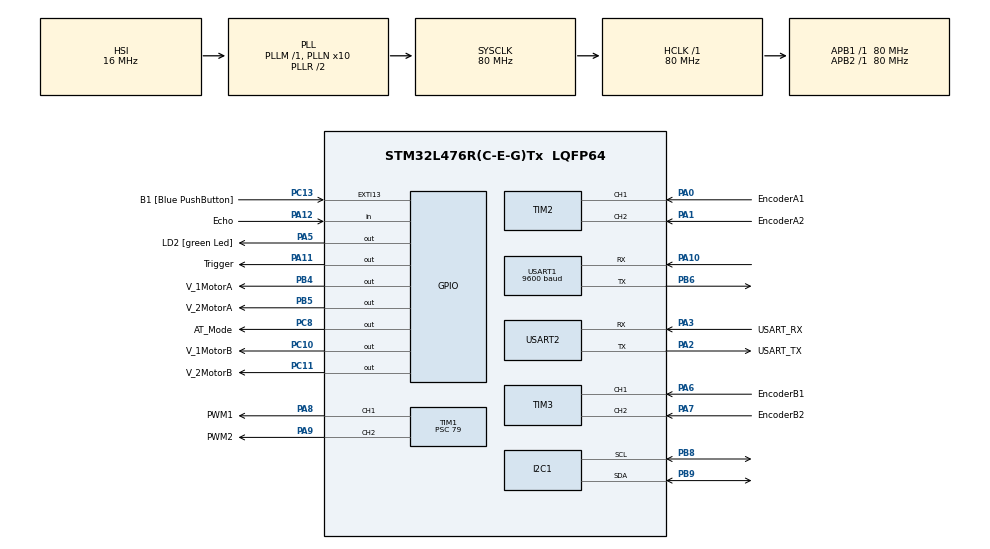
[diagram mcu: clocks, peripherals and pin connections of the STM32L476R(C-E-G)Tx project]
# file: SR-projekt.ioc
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I2C1.Timing=0x10909CEC
Mcu.Family=STM32L4
Mcu.Name=STM32L476R(C-E-G)Tx
Mcu.Package=LQFP64
Mcu.UserConstants=PWM1_period,399;PWM2_period,399
NVIC.PriorityGroup=NVIC_PRIORITYGROUP_4
NVIC.USART1_IRQn=true\:0\:0\:false\:false\:true\:true\:true\:true
PA0.GPIO_Label=EncoderA1
PA0.Signal=S_TIM2_CH1
PA1.GPIO_Label=EncoderA2
PA1.Signal=S_TIM2_CH2
PA10.Mode=Asynchronous
PA10.Signal=USART1_RX
PA11.GPIO_Label=Trigger
PA11.Signal=GPIO_Output
PA12.GPIO_Label=Echo
PA12.Signal=GPIO_Input
PA13\ (JTMS-SWDIO).GPIO_Label=TMS
PA13\ (JTMS-SWDIO).Mode=Serial_Wire
PA13\ (JTMS-SWDIO).Signal=SYS_JTMS-SWDIO
PA14\ (JTCK-SWCLK).GPIO_Label=TCK
PA14\ (JTCK-SWCLK).Mode=Serial_Wire
PA14\ (JTCK-SWCLK).Signal=SYS_JTCK-SWCLK
PA2.GPIO_Label=USART_TX
PA2.GPIO_Mode=GPIO_MODE_AF_PP
PA2.GPIO_PuPd=GPIO_NOPULL
PA2.GPIO_Speed=GPIO_SPEED_FREQ_VERY_HIGH
PA2.Mode=Asynchronous
PA2.Signal=USART2_TX
PA3.GPIO_Label=USART_RX
PA3.GPIO_Mode=GPIO_MODE_AF_PP
PA3.GPIO_PuPd=GPIO_NOPULL
PA3.GPIO_Speed=GPIO_SPEED_FREQ_VERY_HIGH
PA3.Mode=Asynchronous
PA3.Signal=USART2_RX
PA5.GPIO_Label=LD2 [green Led]
PA5.GPIO_ModeDefaultOutputPP=GPIO_MODE_OUTPUT_PP
PA5.GPIO_PuPd=GPIO_NOPULL
PA5.GPIO_Speed=GPIO_SPEED_FREQ_LOW
PA5.Signal=GPIO_Output
PA6.GPIO_Label=EncoderB1
PA6.Signal=S_TIM3_CH1
PA7.GPIO_Label=EncoderB2
PA7.Signal=S_TIM3_CH2
PA8.GPIO_Label=PWM1
PA8.Signal=S_TIM1_CH1
PA9.GPIO_Label=PWM2
PA9.Signal=S_TIM1_CH2
PB3\ (JTDO-TRACESWO).GPIO_Label=SWO
PB3\ (JTDO-TRACESWO).Signal=SYS_JTDO-SWO
PB4\ (NJTRST).GPIO_Label=V_1MotorA
PB4\ (NJTRST).Signal=GPIO_Output
PB5.GPIO_Label=V_2MotorA
PB5.Signal=GPIO_Output
PB6.Mode=Asynchronous
PB6.Signal=USART1_TX
PB8.Mode=I2C
PB8.Signal=I2C1_SCL
PB9.Mode=I2C
PB9.Signal=I2C1_SDA
PC10.GPIO_Label=V_1MotorB
PC10.Signal=GPIO_Output
PC11.GPIO_Label=V_2MotorB
PC11.Signal=GPIO_Output
PC13.GPIO_Label=B1 [Blue PushButton]
PC13.GPIO_ModeDefaultEXTI=GPIO_MODE_IT_FALLING
PC13.GPIO_PuPd=GPIO_NOPULL
PC13.Signal=GPXTI13
PC14-OSC32_IN\ (PC14).Mode=LSE-External-Oscillator
PC14-OSC32_IN\ (PC14).Signal=RCC_OSC32_IN
PC15-OSC32_OUT\ (PC15).Mode=LSE-External-Oscillator
PC15-OSC32_OUT\ (PC15).Signal=RCC_OSC32_OUT
PC8.GPIO_Label=AT_Mode
PC8.Signal=GPIO_Output
PH0-OSC_IN\ (PH0).Signal=RCC_OSC_IN
PH1-OSC_OUT\ (PH1).Signal=RCC_OSC_OUT
ProjectManager.HeapSize=0x200
ProjectManager.StackSize=0x400
ProjectManager.TargetToolchain=STM32CubeIDE
RCC.ADCFreq_Value=64000000
RCC.AHBFreq_Value=80000000
RCC.APB1Freq_Value=80000000
RCC.APB1TimFreq_Value=80000000
RCC.APB2Freq_Value=80000000
RCC.APB2TimFreq_Value=80000000
RCC.CortexFreq_Value=80000000
RCC.HCLKFreq_Value=80000000
RCC.HSE_VALUE=8000000
RCC.HSI_VALUE=16000000
RCC.MSI_VALUE=4000000
RCC.PLLN=10
RCC.PLLSourceVirtual=RCC_PLLSOURCE_HSI
RCC.PREFETCH_ENABLE=1
RCC.SYSCLKFreq_VALUE=80000000
RCC.SYSCLKSource=RCC_SYSCLKSOURCE_PLLCLK
RCC.USBFreq_Value=64000000
RCC.VCOOutputFreq_Value=160000000
SH.S_TIM1_CH1.0=TIM1_CH1,PWM Generation1 CH1
SH.S_TIM1_CH2.0=TIM1_CH2,PWM Generation2 CH2
SH.S_TIM2_CH1.0=TIM2_CH1,Encoder_Interface
SH.S_TIM2_CH2.0=TIM2_CH2,Encoder_Interface
SH.S_TIM3_CH1.0=TIM3_CH1,Encoder_Interface
SH.S_TIM3_CH2.0=TIM3_CH2,Encoder_Interface
TIM1.Channel-PWM\ Generation1\ CH1=TIM_CHANNEL_1
TIM1.Channel-PWM\ Generation2\ CH2=TIM_CHANNEL_2
TIM1.Period=399
TIM1.Prescaler=79
TIM2.EncoderMode=TIM_ENCODERMODE_TI12
TIM2.IC1Filter=5
TIM2.IC2Filter=5
TIM3.EncoderMode=TIM_ENCODERMODE_TI12
TIM3.IC1Filter=5
TIM3.IC2Filter=5
TIM4.Period=0
TIM4.Prescaler=79
USART1.BaudRate=9600
USART1.VirtualMode-Asynchronous=VM_ASYNC
USART2.VirtualMode-Asynchronous=VM_ASYNC
VP_TIM4_VS_ClockSourceINT.Mode=Internal
board=NUCLEO-L476RG

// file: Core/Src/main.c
/* USER CODE BEGIN Header */
/**
  ******************************************************************************
  * @file           : main.c
  * @brief          : Main program body
  ******************************************************************************
  * @attention
  *
  * Copyright (c) 2024 STMicroelectronics.
  * All rights reserved.
  *
  * This software is licensed under terms that can be found in the LICENSE file
  * in the root directory of this software component.
  * If no LICENSE file comes with this software, it is provided AS-IS.
  *
  ******************************************************************************
  */
/* USER CODE END Header */
#include "main.h"

/* USER CODE BEGIN Includes */
#include <stdio.h>
/* USER CODE END Includes */

I2C_HandleTypeDef hi2c1;

TIM_HandleTypeDef htim1;
TIM_HandleTypeDef htim2;
TIM_HandleTypeDef htim3;
TIM_HandleTypeDef htim4;

UART_HandleTypeDef huart1;
UART_HandleTypeDef huart2;

/* USER CODE BEGIN PV */

#define adxl_address 0x53<<1

uint8_t rxData;

/* USER CODE END PV */

void SystemClock_Config(void);
static void MX_GPIO_Init(void);
static void MX_USART2_UART_Init(void);
static void MX_TIM1_Init(void);
static void MX_TIM2_Init(void);
static void MX_TIM3_Init(void);
static void MX_I2C1_Init(void);
static void MX_TIM4_Init(void);
static void MX_USART1_UART_Init(void);
/* USER CODE BEGIN PFP */

uint8_t data_rec[6];

void adxl_write(uint8_t reg,uint8_t value)
{
	uint8_t data[2];
	data[0] = reg;
	data[1] = value;
	HAL_I2C_Master_Transmit(&hi2c1, adxl_address, data, 2, 10);
}

void adxl_read(uint8_t reg,uint8_t numberofbytes)
{
	HAL_I2C_Mem_Read(&hi2c1,adxl_address, reg, 1, data_rec, numberofbytes, 100);
}

void adxl_init (void)
{
	adxl_read (0x00, 1);

	adxl_write (0x2d, 0);
	adxl_write (0x2d, 0x08);
	adxl_write(0x31, 0x01);

}

	void usDelay(uint32_t uSec);

/* USER CODE END PFP */

/* USER CODE BEGIN 0 */
const float speedOfSound = 0.0343/2;
float distance;
/* USER CODE END 0 */

int main(void)
{

  /* MCU Configuration--------------------------------------------------------*/

  /* Reset of all peripherals, Initializes the Flash interface and the Systick. */
  HAL_Init();

  /* Configure the system clock */
  SystemClock_Config();

  /* Initialize all configured peripherals */
  MX_GPIO_Init();
  MX_USART2_UART_Init();
  MX_TIM1_Init();
  MX_TIM2_Init();
  MX_TIM3_Init();
  MX_I2C1_Init();
  MX_TIM4_Init();
  MX_USART1_UART_Init();
  /* USER CODE BEGIN 2 */
  int counterValue = 0;
  int pastCounterValue = 0;
  float angleValue = 0;
  char printMessage[200] = {'\0'};

  int counterValue3 = 0;
    int pastCounterValue3 = 0;
    float angleValue3 = 0;
    char printMessage3[200] = {'\0'};
    char printMessage_akc[200] = {'\0'};
    char printMessage_US[200] = {'\0'};
    float x,y,z,xg,yg,zg;
    float distVarStop = 10;
    uint32_t numTicks;
    //TIM1->CCR1 = 400;
    //TIM1->CCR2 = 400;

  HAL_TIM_Encoder_Start(&htim2, TIM_CHANNEL_ALL);
  HAL_TIM_Encoder_Start(&htim3, TIM_CHANNEL_ALL);

  adxl_init();

  HAL_UART_Receive_IT(&huart1,&rxData,1);

  HAL_GPIO_WritePin(AT_Mode_GPIO_Port, AT_Mode_Pin, 0);
/*
  void adxl_read_values (uint8_t reg)
  {
     HAL_I2C_Mem_Read (&hi2c1, adxl_address, reg, 1, (uint8_t *)data_rec, 6, 100);
  }
*/
 // HAL_TIM_PWM_Start(&htim1, TIM_CHANNEL_1);
  /* USER CODE END 2 */

  /* Infinite loop */
  while (1)
  {

    /* USER CODE BEGIN 3 */

	  //BT

	  if (distVarStop >= 5)
	  	  {
	  		  HAL_UART_RxCpltCallback(&huart1);
	  	  } else if(distVarStop < 5) {
	  		 HAL_Delay(10);
	  	 while (distVarStop < 5){

	  		  TIM1->CCR1 = 100;
	  		  TIM1->CCR2 = 150;

	  			HAL_GPIO_WritePin(V_1MotorA_GPIO_Port, V_1MotorA_Pin, 0); //prosto prawe
	  			HAL_GPIO_WritePin(V_2MotorB_GPIO_Port, V_2MotorB_Pin, 0); //prosto lewe

	  			HAL_GPIO_WritePin(V_2MotorA_GPIO_Port, V_2MotorA_Pin, 1); // tyl prawe
	  			HAL_GPIO_WritePin(V_1MotorB_GPIO_Port, V_1MotorB_Pin, 1); // tyl lewe
	  		  HAL_Delay(1000);
	  			HAL_GPIO_WritePin(V_1MotorA_GPIO_Port, V_1MotorA_Pin, 0); //prosto prawe
	  			HAL_GPIO_WritePin(V_2MotorB_GPIO_Port, V_2MotorB_Pin, 0); //prosto lewe

	  			HAL_GPIO_WritePin(V_2MotorA_GPIO_Port, V_2MotorA_Pin, 0); // tyl prawe
	  			HAL_GPIO_WritePin(V_1MotorB_GPIO_Port, V_1MotorB_Pin, 0); // tyl lewe
	  		  HAL_GPIO_WritePin(Trigger_GPIO_Port, Trigger_Pin, GPIO_PIN_RESET);
	  		  usDelay(3);

	  		  HAL_GPIO_WritePin(Trigger_GPIO_Port, Trigger_Pin, GPIO_PIN_SET);
	  		  usDelay(10);
	  		  HAL_GPIO_WritePin(Trigger_GPIO_Port, Trigger_Pin, GPIO_PIN_RESET);

	  		  while(HAL_GPIO_ReadPin(Echo_GPIO_Port, Echo_Pin) == GPIO_PIN_RESET);

	  		  numTicks = 0;

	  		  while(HAL_GPIO_ReadPin(Echo_GPIO_Port, Echo_Pin) == GPIO_PIN_SET)
	  		  {
	  			  numTicks++;
	  			  usDelay(2);
	  		  }

	  		  distance = (numTicks + 0.0f)*2.8*speedOfSound;
	  		  distVarStop = distance;
	  	  }
	  	  }

	  //HAL_UART_RxCpltCallback(&huart1);
	  HAL_GPIO_WritePin(AT_Mode_GPIO_Port, AT_Mode_Pin, 1);

	  //Czujnik ultradzwiekowy
	  HAL_GPIO_WritePin(Trigger_GPIO_Port, Trigger_Pin, GPIO_PIN_RESET);
	  usDelay(3);

	  HAL_GPIO_WritePin(Trigger_GPIO_Port, Trigger_Pin, GPIO_PIN_SET);
	  usDelay(10);
	  HAL_GPIO_WritePin(Trigger_GPIO_Port, Trigger_Pin, GPIO_PIN_RESET);

	  while(HAL_GPIO_ReadPin(Echo_GPIO_Port, Echo_Pin) == GPIO_PIN_RESET);

	  numTicks = 0;

	  while(HAL_GPIO_ReadPin(Echo_GPIO_Port, Echo_Pin) == GPIO_PIN_SET)
	  {
		  numTicks++;
		  usDelay(2);
	  }

	  distance = (numTicks + 0.0f)*2.8*speedOfSound;
	  distVarStop = distance;

	  sprintf(printMessage_US, "Odległość: %f cm\n\r", distance);
	  	  HAL_UART_Transmit(&huart2, (uint8_t*)printMessage_US, sizeof(printMessage_US), 300);
/*
	  if (distance >= 5)
	  {
		  HAL_UART_RxCpltCallback(&huart1);
	  } else {
		  TIM1->CCR1 = 200;
		  TIM1->CCR2 = 200;
	  }
	  */
	  //akcelerometr
	  adxl_read (0x32,6);
	  x = ((data_rec[1]<<8)|data_rec[0]);
	  y = ((data_rec[3]<<8)|data_rec[2]);
	  z = ((data_rec[5]<<8)|data_rec[4]);

	  xg = x*.0078;
	  yg = y*.0078;
	  zg = z*.0078;

	  sprintf(printMessage_akc, "x = %f, y = %f, z = %f \n\n\r", xg, yg, zg);
	  HAL_UART_Transmit(&huart2, (uint8_t*)printMessage_akc, sizeof(printMessage_akc), 300);

	 //enkoder
	 counterValue = TIM2->CNT;
	 	 if (counterValue != pastCounterValue)
	 	 {
	 		 angleValue = (360.0/2400.0)*((float)counterValue);
	 		 sprintf(printMessage, "Current angle is motor A: %f\n\r", angleValue);
	 		 HAL_UART_Transmit(&huart2, (uint8_t*)printMessage, sizeof(printMessage), 300);
	 	 }
	 	 pastCounterValue = counterValue;

	 	counterValue3 = TIM3->CNT;
	 		 	 if (counterValue3 != pastCounterValue3)
	 		 	 {
	 		 		 angleValue3 = (360.0/2400.0)*((float)counterValue3);
	 		 		 sprintf(printMessage3, "Current angle is motor B: %f\n\r", angleValue3);
	 		 		 HAL_UART_Transmit(&huart2, (uint8_t*)printMessage3, sizeof(printMessage3), 300);
	 		 	 }
	 		 	 pastCounterValue3 = counterValue3;

	//HAL_GPIO_WritePin(V_2MotorA_GPIO_Port, V_2MotorA_Pin, 0); // tyl prawe
	//HAL_GPIO_WritePin(V_1MotorB_GPIO_Port, V_1MotorB_Pin, 0); // tyl lewe

	 HAL_TIM_PWM_Start(&htim1, TIM_CHANNEL_1);
	 //HAL_Delay(100);

	 HAL_TIM_PWM_Start(&htim1, TIM_CHANNEL_2);
	 //HAL_Delay(1000);
	 /*
	 HAL_Delay(3000);
	 HAL_GPIO_WritePin(GPIOB, GPIO_PIN_4, 0);
	 HAL_GPIO_WritePin(GPIOB, GPIO_PIN_5, 1);
	 TIM1->CCR1 = 200;
	 HAL_TIM_PWM_Start(&htim1, TIM_CHANNEL_1);
	 HAL_Delay(3000);
 */
  }
  /* USER CODE END 3 */
}

void SystemClock_Config(void)
{
  RCC_OscInitTypeDef RCC_OscInitStruct = {0};
  RCC_ClkInitTypeDef RCC_ClkInitStruct = {0};

  /** Configure the main internal regulator output voltage
  */
  if (HAL_PWREx_ControlVoltageScaling(PWR_REGULATOR_VOLTAGE_SCALE1) != HAL_OK)
  {
    Error_Handler();
  }

  /** Initializes the RCC Oscillators according to the specified parameters
  * in the RCC_OscInitTypeDef structure.
  */
  RCC_OscInitStruct.OscillatorType = RCC_OSCILLATORTYPE_HSI;
  RCC_OscInitStruct.HSIState = RCC_HSI_ON;
  RCC_OscInitStruct.HSICalibrationValue = RCC_HSICALIBRATION_DEFAULT;
  RCC_OscInitStruct.PLL.PLLState = RCC_PLL_ON;
  RCC_OscInitStruct.PLL.PLLSource = RCC_PLLSOURCE_HSI;
  RCC_OscInitStruct.PLL.PLLM = 1;
  RCC_OscInitStruct.PLL.PLLN = 10;
  RCC_OscInitStruct.PLL.PLLP = RCC_PLLP_DIV7;
  RCC_OscInitStruct.PLL.PLLQ = RCC_PLLQ_DIV2;
  RCC_OscInitStruct.PLL.PLLR = RCC_PLLR_DIV2;
  if (HAL_RCC_OscConfig(&RCC_OscInitStruct) != HAL_OK)
  {
    Error_Handler();
  }

  /** Initializes the CPU, AHB and APB buses clocks
  */
  RCC_ClkInitStruct.ClockType = RCC_CLOCKTYPE_HCLK|RCC_CLOCKTYPE_SYSCLK
                              |RCC_CLOCKTYPE_PCLK1|RCC_CLOCKTYPE_PCLK2;
  RCC_ClkInitStruct.SYSCLKSource = RCC_SYSCLKSOURCE_PLLCLK;
  RCC_ClkInitStruct.AHBCLKDivider = RCC_SYSCLK_DIV1;
  RCC_ClkInitStruct.APB1CLKDivider = RCC_HCLK_DIV1;
  RCC_ClkInitStruct.APB2CLKDivider = RCC_HCLK_DIV1;

  if (HAL_RCC_ClockConfig(&RCC_ClkInitStruct, FLASH_LATENCY_4) != HAL_OK)
  {
    Error_Handler();
  }
}

static void MX_I2C1_Init(void)
{

  hi2c1.Instance = I2C1;
  hi2c1.Init.Timing = 0x10909CEC;
  hi2c1.Init.OwnAddress1 = 0;
  hi2c1.Init.AddressingMode = I2C_ADDRESSINGMODE_7BIT;
  hi2c1.Init.DualAddressMode = I2C_DUALADDRESS_DISABLE;
  hi2c1.Init.OwnAddress2 = 0;
  hi2c1.Init.OwnAddress2Masks = I2C_OA2_NOMASK;
  hi2c1.Init.GeneralCallMode = I2C_GENERALCALL_DISABLE;
  hi2c1.Init.NoStretchMode = I2C_NOSTRETCH_DISABLE;
  if (HAL_I2C_Init(&hi2c1) != HAL_OK)
  {
    Error_Handler();
  }

  /** Configure Analogue filter
  */
  if (HAL_I2CEx_ConfigAnalogFilter(&hi2c1, I2C_ANALOGFILTER_ENABLE) != HAL_OK)
  {
    Error_Handler();
  }

  /** Configure Digital filter
  */
  if (HAL_I2CEx_ConfigDigitalFilter(&hi2c1, 0) != HAL_OK)
  {
    Error_Handler();
  }

}

static void MX_TIM1_Init(void)
{

  TIM_MasterConfigTypeDef sMasterConfig = {0};
  TIM_OC_InitTypeDef sConfigOC = {0};
  TIM_BreakDeadTimeConfigTypeDef sBreakDeadTimeConfig = {0};

  htim1.Instance = TIM1;
  htim1.Init.Prescaler = 79;
  htim1.Init.CounterMode = TIM_COUNTERMODE_UP;
  htim1.Init.Period = 399;
  htim1.Init.ClockDivision = TIM_CLOCKDIVISION_DIV1;
  htim1.Init.RepetitionCounter = 0;
  htim1.Init.AutoReloadPreload = TIM_AUTORELOAD_PRELOAD_DISABLE;
  if (HAL_TIM_PWM_Init(&htim1) != HAL_OK)
  {
    Error_Handler();
  }
  sMasterConfig.MasterOutputTrigger = TIM_TRGO_RESET;
  sMasterConfig.MasterOutputTrigger2 = TIM_TRGO2_RESET;
  sMasterConfig.MasterSlaveMode = TIM_MASTERSLAVEMODE_DISABLE;
  if (HAL_TIMEx_MasterConfigSynchronization(&htim1, &sMasterConfig) != HAL_OK)
  {
    Error_Handler();
  }
  sConfigOC.OCMode = TIM_OCMODE_PWM1;
  sConfigOC.Pulse = 0;
  sConfigOC.OCPolarity = TIM_OCPOLARITY_HIGH;
  sConfigOC.OCNPolarity = TIM_OCNPOLARITY_HIGH;
  sConfigOC.OCFastMode = TIM_OCFAST_DISABLE;
  sConfigOC.OCIdleState = TIM_OCIDLESTATE_RESET;
  sConfigOC.OCNIdleState = TIM_OCNIDLESTATE_RESET;
  if (HAL_TIM_PWM_ConfigChannel(&htim1, &sConfigOC, TIM_CHANNEL_1) != HAL_OK)
  {
    Error_Handler();
  }
  if (HAL_TIM_PWM_ConfigChannel(&htim1, &sConfigOC, TIM_CHANNEL_2) != HAL_OK)
  {
    Error_Handler();
  }
  sBreakDeadTimeConfig.OffStateRunMode = TIM_OSSR_DISABLE;
  sBreakDeadTimeConfig.OffStateIDLEMode = TIM_OSSI_DISABLE;
  sBreakDeadTimeConfig.LockLevel = TIM_LOCKLEVEL_OFF;
  sBreakDeadTimeConfig.DeadTime = 0;
  sBreakDeadTimeConfig.BreakState = TIM_BREAK_DISABLE;
  sBreakDeadTimeConfig.BreakPolarity = TIM_BREAKPOLARITY_HIGH;
  sBreakDeadTimeConfig.BreakFilter = 0;
  sBreakDeadTimeConfig.Break2State = TIM_BREAK2_DISABLE;
  sBreakDeadTimeConfig.Break2Polarity = TIM_BREAK2POLARITY_HIGH;
  sBreakDeadTimeConfig.Break2Filter = 0;
  sBreakDeadTimeConfig.AutomaticOutput = TIM_AUTOMATICOUTPUT_DISABLE;
  if (HAL_TIMEx_ConfigBreakDeadTime(&htim1, &sBreakDeadTimeConfig) != HAL_OK)
  {
    Error_Handler();
  }
  HAL_TIM_MspPostInit(&htim1);

}

static void MX_TIM2_Init(void)
{

  TIM_Encoder_InitTypeDef sConfig = {0};
  TIM_MasterConfigTypeDef sMasterConfig = {0};

  htim2.Instance = TIM2;
  htim2.Init.Prescaler = 0;
  htim2.Init.CounterMode = TIM_COUNTERMODE_UP;
  htim2.Init.Period = 4294967295;
  htim2.Init.ClockDivision = TIM_CLOCKDIVISION_DIV1;
  htim2.Init.AutoReloadPreload = TIM_AUTORELOAD_PRELOAD_DISABLE;
  sConfig.EncoderMode = TIM_ENCODERMODE_TI12;
  sConfig.IC1Polarity = TIM_ICPOLARITY_RISING;
  sConfig.IC1Selection = TIM_ICSELECTION_DIRECTTI;
  sConfig.IC1Prescaler = TIM_ICPSC_DIV1;
  sConfig.IC1Filter = 5;
  sConfig.IC2Polarity = TIM_ICPOLARITY_RISING;
  sConfig.IC2Selection = TIM_ICSELECTION_DIRECTTI;
  sConfig.IC2Prescaler = TIM_ICPSC_DIV1;
  sConfig.IC2Filter = 5;
  if (HAL_TIM_Encoder_Init(&htim2, &sConfig) != HAL_OK)
  {
    Error_Handler();
  }
  sMasterConfig.MasterOutputTrigger = TIM_TRGO_RESET;
  sMasterConfig.MasterSlaveMode = TIM_MASTERSLAVEMODE_DISABLE;
  if (HAL_TIMEx_MasterConfigSynchronization(&htim2, &sMasterConfig) != HAL_OK)
  {
    Error_Handler();
  }

}

static void MX_TIM3_Init(void)
{

  TIM_Encoder_InitTypeDef sConfig = {0};
  TIM_MasterConfigTypeDef sMasterConfig = {0};

  htim3.Instance = TIM3;
  htim3.Init.Prescaler = 0;
  htim3.Init.CounterMode = TIM_COUNTERMODE_UP;
  htim3.Init.Period = 65535;
  htim3.Init.ClockDivision = TIM_CLOCKDIVISION_DIV1;
  htim3.Init.AutoReloadPreload = TIM_AUTORELOAD_PRELOAD_DISABLE;
  sConfig.EncoderMode = TIM_ENCODERMODE_TI12;
  sConfig.IC1Polarity = TIM_ICPOLARITY_RISING;
  sConfig.IC1Selection = TIM_ICSELECTION_DIRECTTI;
  sConfig.IC1Prescaler = TIM_ICPSC_DIV1;
  sConfig.IC1Filter = 5;
  sConfig.IC2Polarity = TIM_ICPOLARITY_RISING;
  sConfig.IC2Selection = TIM_ICSELECTION_DIRECTTI;
  sConfig.IC2Prescaler = TIM_ICPSC_DIV1;
  sConfig.IC2Filter = 5;
  if (HAL_TIM_Encoder_Init(&htim3, &sConfig) != HAL_OK)
  {
    Error_Handler();
  }
  sMasterConfig.MasterOutputTrigger = TIM_TRGO_RESET;
  sMasterConfig.MasterSlaveMode = TIM_MASTERSLAVEMODE_DISABLE;
  if (HAL_TIMEx_MasterConfigSynchronization(&htim3, &sMasterConfig) != HAL_OK)
  {
    Error_Handler();
  }

}

static void MX_TIM4_Init(void)
{

  TIM_ClockConfigTypeDef sClockSourceConfig = {0};
  TIM_MasterConfigTypeDef sMasterConfig = {0};

  htim4.Instance = TIM4;
  htim4.Init.Prescaler = 79;
  htim4.Init.CounterMode = TIM_COUNTERMODE_UP;
  htim4.Init.Period = 0;
  htim4.Init.ClockDivision = TIM_CLOCKDIVISION_DIV1;
  htim4.Init.AutoReloadPreload = TIM_AUTORELOAD_PRELOAD_DISABLE;
  if (HAL_TIM_Base_Init(&htim4) != HAL_OK)
  {
    Error_Handler();
  }
  sClockSourceConfig.ClockSource = TIM_CLOCKSOURCE_INTERNAL;
  if (HAL_TIM_ConfigClockSource(&htim4, &sClockSourceConfig) != HAL_OK)
  {
    Error_Handler();
  }
  sMasterConfig.MasterOutputTrigger = TIM_TRGO_RESET;
  sMasterConfig.MasterSlaveMode = TIM_MASTERSLAVEMODE_DISABLE;
  if (HAL_TIMEx_MasterConfigSynchronization(&htim4, &sMasterConfig) != HAL_OK)
  {
    Error_Handler();
  }

}

static void MX_USART1_UART_Init(void)
{

  huart1.Instance = USART1;
  huart1.Init.BaudRate = 9600;
  huart1.Init.WordLength = UART_WORDLENGTH_8B;
  huart1.Init.StopBits = UART_STOPBITS_1;
  huart1.Init.Parity = UART_PARITY_NONE;
  huart1.Init.Mode = UART_MODE_TX_RX;
  huart1.Init.HwFlowCtl = UART_HWCONTROL_NONE;
  huart1.Init.OverSampling = UART_OVERSAMPLING_16;
  huart1.Init.OneBitSampling = UART_ONE_BIT_SAMPLE_DISABLE;
  huart1.AdvancedInit.AdvFeatureInit = UART_ADVFEATURE_NO_INIT;
  if (HAL_UART_Init(&huart1) != HAL_OK)
  {
    Error_Handler();
  }

}

static void MX_USART2_UART_Init(void)
{

  huart2.Instance = USART2;
  huart2.Init.BaudRate = 115200;
  huart2.Init.WordLength = UART_WORDLENGTH_8B;
  huart2.Init.StopBits = UART_STOPBITS_1;
  huart2.Init.Parity = UART_PARITY_NONE;
  huart2.Init.Mode = UART_MODE_TX_RX;
  huart2.Init.HwFlowCtl = UART_HWCONTROL_NONE;
  huart2.Init.OverSampling = UART_OVERSAMPLING_16;
  huart2.Init.OneBitSampling = UART_ONE_BIT_SAMPLE_DISABLE;
  huart2.AdvancedInit.AdvFeatureInit = UART_ADVFEATURE_NO_INIT;
  if (HAL_UART_Init(&huart2) != HAL_OK)
  {
    Error_Handler();
  }

}

static void MX_GPIO_Init(void)
{
  GPIO_InitTypeDef GPIO_InitStruct = {0};

  /* GPIO Ports Clock Enable */
  __HAL_RCC_GPIOC_CLK_ENABLE();
  __HAL_RCC_GPIOH_CLK_ENABLE();
  __HAL_RCC_GPIOA_CLK_ENABLE();
  __HAL_RCC_GPIOB_CLK_ENABLE();

  /*Configure GPIO pin Output Level */
  HAL_GPIO_WritePin(GPIOA, LD2_Pin|Trigger_Pin, GPIO_PIN_RESET);

  /*Configure GPIO pin Output Level */
  HAL_GPIO_WritePin(GPIOC, AT_Mode_Pin|V_1MotorB_Pin|V_2MotorB_Pin, GPIO_PIN_RESET);

  /*Configure GPIO pin Output Level */
  HAL_GPIO_WritePin(GPIOB, V_1MotorA_Pin|V_2MotorA_Pin, GPIO_PIN_RESET);

  /*Configure GPIO pin : B1_Pin */
  GPIO_InitStruct.Pin = B1_Pin;
  GPIO_InitStruct.Mode = GPIO_MODE_IT_FALLING;
  GPIO_InitStruct.Pull = GPIO_NOPULL;
  HAL_GPIO_Init(B1_GPIO_Port, &GPIO_InitStruct);

  /*Configure GPIO pins : LD2_Pin Trigger_Pin */
  GPIO_InitStruct.Pin = LD2_Pin|Trigger_Pin;
  GPIO_InitStruct.Mode = GPIO_MODE_OUTPUT_PP;
  GPIO_InitStruct.Pull = GPIO_NOPULL;
  GPIO_InitStruct.Speed = GPIO_SPEED_FREQ_LOW;
  HAL_GPIO_Init(GPIOA, &GPIO_InitStruct);

  /*Configure GPIO pins : AT_Mode_Pin V_1MotorB_Pin V_2MotorB_Pin */
  GPIO_InitStruct.Pin = AT_Mode_Pin|V_1MotorB_Pin|V_2MotorB_Pin;
  GPIO_InitStruct.Mode = GPIO_MODE_OUTPUT_PP;
  GPIO_InitStruct.Pull = GPIO_NOPULL;
  GPIO_InitStruct.Speed = GPIO_SPEED_FREQ_LOW;
  HAL_GPIO_Init(GPIOC, &GPIO_InitStruct);

  /*Configure GPIO pin : Echo_Pin */
  GPIO_InitStruct.Pin = Echo_Pin;
  GPIO_InitStruct.Mode = GPIO_MODE_INPUT;
  GPIO_InitStruct.Pull = GPIO_NOPULL;
  HAL_GPIO_Init(Echo_GPIO_Port, &GPIO_InitStruct);

  /*Configure GPIO pins : V_1MotorA_Pin V_2MotorA_Pin */
  GPIO_InitStruct.Pin = V_1MotorA_Pin|V_2MotorA_Pin;
  GPIO_InitStruct.Mode = GPIO_MODE_OUTPUT_PP;
  GPIO_InitStruct.Pull = GPIO_NOPULL;
  GPIO_InitStruct.Speed = GPIO_SPEED_FREQ_LOW;
  HAL_GPIO_Init(GPIOB, &GPIO_InitStruct);

}

/* USER CODE BEGIN 4 */

void usDelay(uint32_t uSec)
{
	if(uSec<2) uSec = 2;
	TIM4->ARR = uSec - 1;
	TIM4->EGR = 1;
	TIM4->SR &= ~1;
	TIM4->CR1 |= 1;
	while((TIM4->SR&0x0001) != 1);
	TIM4->SR &= ~(0x0001);
}

void HAL_UART_RxCpltCallback(UART_HandleTypeDef *huart)
{
	// HAL_GPIO_WritePin(V_1MotorA_GPIO_Port, V_1MotorA_Pin, 0); //prosto prawe
	// HAL_GPIO_WritePin(V_2MotorB_GPIO_Port, V_2MotorB_Pin, 1); //prosto lewe

	//HAL_GPIO_WritePin(V_2MotorA_GPIO_Port, V_2MotorA_Pin, 0); // tyl prawe
	// HAL_GPIO_WritePin(V_1MotorB_GPIO_Port, V_1MotorB_Pin, 0); // tyl lewe
  if(huart->Instance==USART1)
  {
    if(rxData==78) // Ascii value of 'N' is 78 (N for NO)
    {
    	HAL_GPIO_WritePin(V_2MotorA_GPIO_Port, V_2MotorA_Pin, 0); // tyl prawe
    	HAL_GPIO_WritePin(V_1MotorA_GPIO_Port, V_1MotorA_Pin, 0); //prosto prawe
    	HAL_GPIO_WritePin(V_2MotorB_GPIO_Port, V_2MotorB_Pin, 0); // prosto lewe
    	HAL_GPIO_WritePin(V_1MotorB_GPIO_Port, V_1MotorB_Pin, 0); // tyl lewe

    }
    else if (rxData==89) // Ascii value of 'Y' is 89 (Y for YES)
    {
   	 HAL_GPIO_WritePin(V_1MotorA_GPIO_Port, V_1MotorA_Pin, 1); //prosto prawe
   	 HAL_GPIO_WritePin(V_2MotorB_GPIO_Port, V_2MotorB_Pin, 1); //prosto lewe

   	 HAL_GPIO_WritePin(V_2MotorA_GPIO_Port, V_2MotorA_Pin, 0); // tyl prawe
   	 HAL_GPIO_WritePin(V_1MotorB_GPIO_Port, V_1MotorB_Pin, 0); // tyl lewe
    	TIM1-> CCR1 = 100;
    	TIM1-> CCR2 = 100;
    }
    else if (rxData == 49) //1 skret w prawo
    {
    	HAL_GPIO_WritePin(V_2MotorA_GPIO_Port, V_2MotorA_Pin, 1); //tyl prawe
    	HAL_GPIO_WritePin(V_1MotorA_GPIO_Port, V_1MotorA_Pin, 0); //prosto prawe
    	HAL_GPIO_WritePin(V_2MotorB_GPIO_Port, V_2MotorB_Pin, 1); //prosto lewe
    	HAL_GPIO_WritePin(V_1MotorB_GPIO_Port, V_1MotorB_Pin, 0); // tyl lewe
    	TIM1-> CCR1 = 75;
    	TIM1-> CCR2 = 75;
    }
    else if (rxData == 50) //2 stop skret w prawo
        {
    	HAL_GPIO_WritePin(V_2MotorA_GPIO_Port, V_2MotorA_Pin, 0); //tyl prawe
    	HAL_GPIO_WritePin(V_1MotorA_GPIO_Port, V_1MotorA_Pin, 0); //prosto prawe
    	HAL_GPIO_WritePin(V_2MotorB_GPIO_Port, V_2MotorB_Pin, 0); //prosto lewe
    	HAL_GPIO_WritePin(V_1MotorB_GPIO_Port, V_1MotorB_Pin, 0); // tyl lewe

        }

  else if (rxData == 51) //3 skret w lewo
  {
  	HAL_GPIO_WritePin(V_2MotorA_GPIO_Port, V_2MotorA_Pin, 0); //tyl prawe
  	HAL_GPIO_WritePin(V_1MotorA_GPIO_Port, V_1MotorA_Pin, 1); //prosto prawe
  	HAL_GPIO_WritePin(V_2MotorB_GPIO_Port, V_2MotorB_Pin, 0); //prosto lewe
  	HAL_GPIO_WritePin(V_1MotorB_GPIO_Port, V_1MotorB_Pin, 1); // tyl lewe
	      	TIM1-> CCR1 = 75;
	      	TIM1-> CCR2 = 75;
  }
  else if (rxData == 52) //4 skret w lewo stop
   {
  	HAL_GPIO_WritePin(V_2MotorA_GPIO_Port, V_2MotorA_Pin, 0); //tyl prawe
  	HAL_GPIO_WritePin(V_1MotorA_GPIO_Port, V_1MotorA_Pin, 0); //prosto prawe
  	HAL_GPIO_WritePin(V_2MotorB_GPIO_Port, V_2MotorB_Pin, 0); //prosto lewe
  	HAL_GPIO_WritePin(V_1MotorB_GPIO_Port, V_1MotorB_Pin, 0); // tyl lewe

   }

  else if (rxData == 53) //5 tyl
   {
  	HAL_GPIO_WritePin(V_2MotorA_GPIO_Port, V_2MotorA_Pin, 1); //tyl prawe
  	HAL_GPIO_WritePin(V_1MotorA_GPIO_Port, V_1MotorA_Pin, 0); //prosto prawe
  	HAL_GPIO_WritePin(V_2MotorB_GPIO_Port, V_2MotorB_Pin, 0); //prosto lewe
  	HAL_GPIO_WritePin(V_1MotorB_GPIO_Port, V_1MotorB_Pin, 1); // tyl lewe
 	      	TIM1-> CCR1 = 60;
 	      	TIM1-> CCR2 = 60;
   }
  else if (rxData == 54) //6 tyl stop
   {
  	HAL_GPIO_WritePin(V_2MotorA_GPIO_Port, V_2MotorA_Pin, 0); //tyl prawe
  	HAL_GPIO_WritePin(V_1MotorA_GPIO_Port, V_1MotorA_Pin, 0); //prosto prawe
  	HAL_GPIO_WritePin(V_2MotorB_GPIO_Port, V_2MotorB_Pin, 0); //prosto lewe
  	HAL_GPIO_WritePin(V_1MotorB_GPIO_Port, V_1MotorB_Pin, 0); // tyl lewe

   }
  }
    HAL_UART_Receive_IT(&huart1,&rxData,1); // Enabling interrupt receive again
  }

/* USER CODE END 4 */

void Error_Handler(void)
{
  __disable_irq();
  while (1)
  {
  }
}
